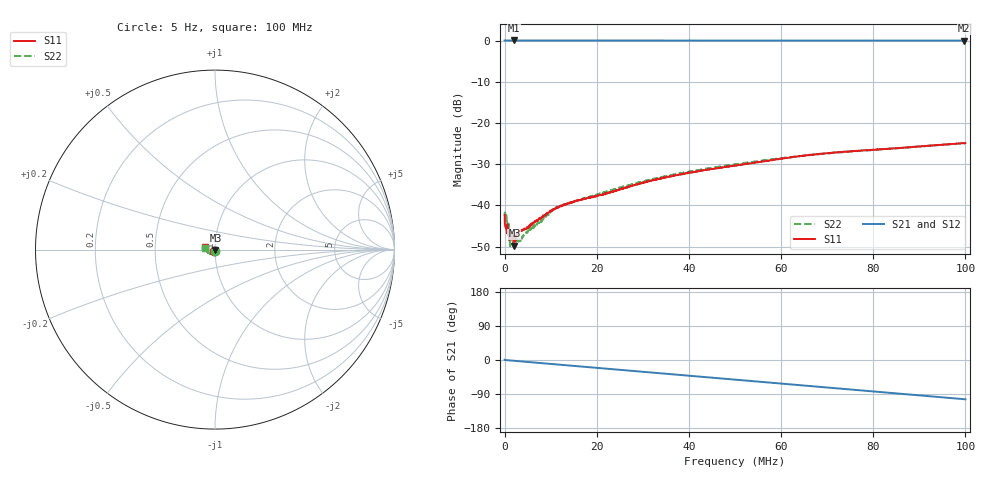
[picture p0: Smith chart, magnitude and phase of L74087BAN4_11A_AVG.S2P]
!Agilent Technologies,E5061B,MY49102235,A.02.00
!Date: Tue Jul 11 16:19:37 2023
!Data & Calibration Information:
!Freq	S11:SOLT2(ON)	S21:SOLT2(ON)	S12:SOLT2(ON)	S22:SOLT2(ON)
# Hz S RI R 50
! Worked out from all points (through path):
!   1600 points, 5 Hz to 100 MHz, reference 50 ohm
!   highest |S21| = 0.02 dB at 1.939 MHz (marker M1); lowest = 0.0 dB at 99.75 MHz (marker M2)
!   group delay of S21, straight-line fit = 2.88 ns
!   lowest |S11| = -49.8 dB at 2.126 MHz (marker M3), VSWR 1.01, Z = 50.3 - j0.179 ohm
!   |S11| at or under -10 dB: start of sweep to end of sweep
!   |S22| runs from -49.9 to -24.9 dB; largest |S21 - S12| = 0.0025
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5  -0.00519 -0.00564  1.002 0.00804  1 0.0102  -0.00151 -0.00755
437778.6  0.00514 -0.000338  1.001 -0.00554  1.001 -0.00631  0.00663 -0.00199
625395.8  0.00509 -0.000296  1.002 -0.0107  1.002 -0.0104  0.0061 -0.000663
1000630  0.00378 -0.000216  1.001 -0.0169  1.001 -0.0167  0.00515 -0.00113
1500943  0.00436 -0.00167  1.001 -0.0256  1.001 -0.0256  0.00303 -0.00282
1938717  0.00315 -0.00125  1.002 -0.0346  1.001 -0.0341  0.00345 -0.000973
2126334  0.0027 -0.00178  1.001 -0.0383  1 -0.0379  0.00386 -0.00119
2439029  0.00381 -0.00166  0.9996 -0.0444  0.9994 -0.044  0.00367 -0.0012
2939342  0.00428 -0.00196  0.9995 -0.0528  0.9991 -0.0531  0.00321 -0.0016
3314576  0.00436 -0.00219  0.9991 -0.0595  0.999 -0.0596  0.00331 -0.00197
4690436  0.00395 -0.00333  0.9974 -0.0844  0.9973 -0.0845  0.00363 -0.003
8255164  0.0029 -0.00675  0.99 -0.1487  0.9899 -0.1486  0.00261 -0.00626
1.025641e7  0.00192 -0.0083  0.984 -0.1843  0.9839 -0.1841  0.00109 -0.00851
1.282052e7  0.000699 -0.0101  0.9741 -0.2298  0.9742 -0.2295  -0.000342 -0.0103
1.669794e7  -0.00118 -0.0117  0.9554 -0.2973  0.9553 -0.2972  -0.00166 -0.0118
2.582865e7  -0.00482 -0.0153  0.8938 -0.4504  0.8936 -0.4503  -0.00292 -0.0166
3.333334e7  -0.00963 -0.0185  0.8242 -0.5672  0.8242 -0.567  -0.00861 -0.0197
5.003127e7  -0.0218 -0.0211  0.618 -0.7867  0.618 -0.7866  -0.0224 -0.0219
6.672921e7  -0.0375 -0.0173  0.3554 -0.9344  0.3556 -0.9345  -0.0371 -0.0173
8.33646e7  -0.0484 -0.00467  0.0623 -0.9973  0.0622 -0.9974  -0.0481 -0.00567
9.974984e7  -0.0557 0.012  -0.2322 -0.9709  -0.2321 -0.9711  -0.0553 0.0106
1e8  -0.0557 0.0122  -0.2366 -0.97  -0.2366 -0.9701  -0.0555 0.011
